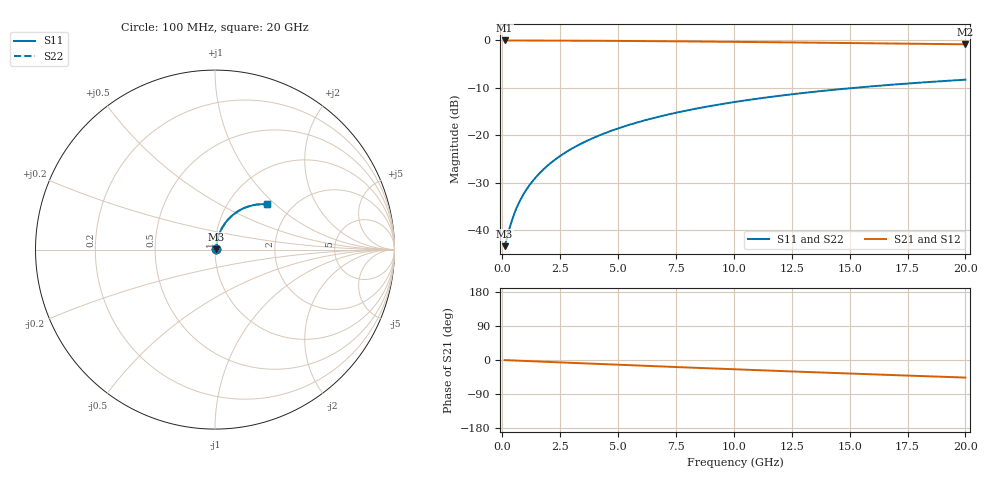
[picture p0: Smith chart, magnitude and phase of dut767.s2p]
! Touchstone file exported from HFSS 2026.1.0
!  File:  C:/ffzhzh/LocalFiles/Ansys_Project_Files/temp_train_BSMRDL_767_1783169137_51560.aedt
!  Generated:  08:46:46 PM Jul  4, 2026
!  Design:  BSMRDL
!  Project:  temp_train_BSMRDL_767_1783169137_51560
! Variables:
!  h_bsmrdl = 3.19um
!  h_ox = 20um
!  h_rdl = 5um
!  h_sub = 80um
!  h_tmrdl = 5um
!  h_tsv = 80um
!  h_via = 3um
!  l_bsmrdl = 731.42um
!  l_sub = 1131.42um
!  l_tmrdl = 200um
!  m_sub = 200um
!  pitch = 28.36um
!  r_tsv = 6um
!  s_tmrdl = 10um
!  w_bsmrdl = 13.1um
!  w_sub = 500um
!  w_tmrdl = 12um
!  x_tsv_center1 = 206um
!  x_tsv_center2 = 950.52um
!  x_tsv_center3 = 1162.52um
!  x_tsv_center4 = 1907.04um
!  x_tsv_center5 = 2119.04um
!  x_tsv_center6 = 2863.56um
# GHz S MA R 50.000000
! Terminal data exported
! Port[1] = BSM_RDL1_1_T1
! Port[2] = BSM_RDL1_1_T2
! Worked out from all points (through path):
!   200 points, 100 MHz to 20 GHz, reference 50 ohm
!   highest |S21| = -0.05 dB at 100 MHz (marker M1); lowest = -0.9 dB at 20 GHz (marker M2)
!   group delay of S21, straight-line fit = 6.44 ps
!   lowest |S11| = -43.4 dB at 100 MHz (marker M3), VSWR 1.01, Z = 50.6 + j0.267 ohm
!   |S11| at or under -10 dB: start of sweep to 15.28 GHz
!   |S22| runs from -43.4 to -8.3 dB; largest |S21 - S12| = 3.1e-15
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0.1  0.006787 22.8  0.9938 -0.3  0.9938 -0.3  0.006787 22.8
! Gamma 0 0 0 0
! Port Impedance 50 0 50 0
0.4  0.01234 56.0  0.9932 -1.1  0.9932 -1.1  0.01234 56.0
0.5  0.01453 60.4  0.993 -1.3  0.993 -1.3  0.01453 60.4
0.6  0.01676 63.6  0.9928 -1.6  0.9928 -1.6  0.01676 63.6
0.7  0.019 66.0  0.9927 -1.8  0.9927 -1.8  0.019 66.0
0.9  0.02352 69.3  0.9924 -2.3  0.9924 -2.3  0.02352 69.3
1.2  0.03036 72.3  0.9919 -3.1  0.9919 -3.1  0.03036 72.3
1.4  0.03496 73.6  0.9917 -3.6  0.9917 -3.6  0.03496 73.6
1.7  0.04189 74.8  0.9912 -4.3  0.9912 -4.3  0.04189 74.8
2.2  0.05351 75.6  0.9904 -5.6  0.9904 -5.6  0.05351 75.6
2.8  0.06746 75.7  0.9893 -7.1  0.9893 -7.1  0.06746 75.7
3.5  0.08366 75.1  0.9877 -8.8  0.9877 -8.8  0.08366 75.1
4.2  0.09971 74.1  0.9857 -10.5  0.9857 -10.5  0.09971 74.1
5  0.1178 72.7  0.9832 -12.5  0.9832 -12.5  0.1178 72.7
5.9  0.1378 70.9  0.98 -14.7  0.98 -14.7  0.1378 70.9
6.8  0.1574 69.0  0.9763 -16.9  0.9763 -16.9  0.1574 69.0
8.3  0.1889 65.8  0.9696 -20.5  0.9696 -20.5  0.1889 65.8
10.1  0.2248 61.8  0.9607 -24.7  0.9607 -24.7  0.2248 61.8
11.7  0.255 58.3  0.9522 -28.4  0.9522 -28.4  0.255 58.3
13.4  0.2852 54.6  0.9428 -32.2  0.9428 -32.2  0.2851 54.7
16.7  0.3382 47.7  0.924 -39.4  0.924 -39.4  0.3381 47.7
20  0.3838 41.0  0.9054 -46.4  0.9054 -46.4  0.3837 41.1
